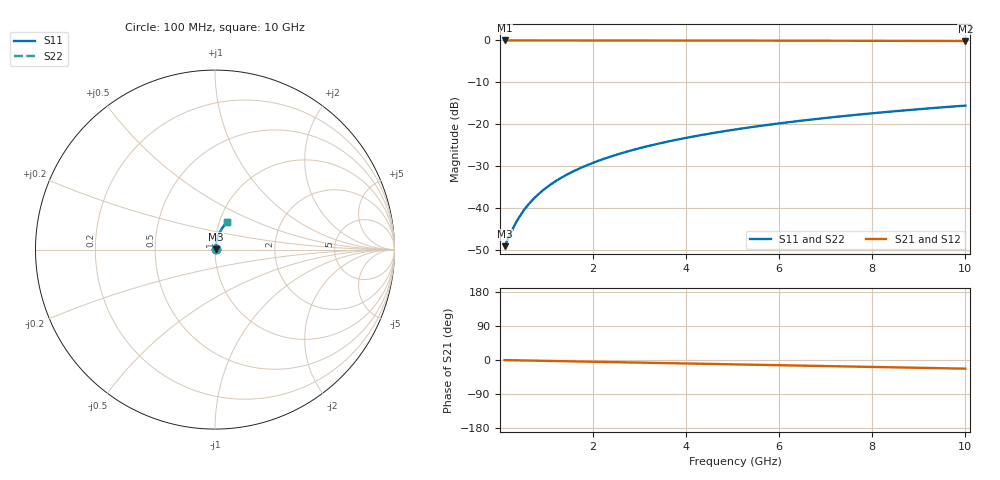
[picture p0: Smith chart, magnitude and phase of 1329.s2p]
# Hz S RI R 50.00
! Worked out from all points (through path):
!   100 points, 100 MHz to 10 GHz, reference 50 ohm
!   highest |S21| = -0.03 dB at 100 MHz (marker M1); lowest = -0.2 dB at 10 GHz (marker M2)
!   group delay of S21, straight-line fit = 6.34 ps
!   lowest |S11| = -49.2 dB at 100 MHz (marker M3), VSWR 1.01, Z = 50.3 + j0.171 ohm
!   |S11| at or under -10 dB: start of sweep to end of sweep
!   |S22| runs from -49.2 to -15.6 dB; largest |S21 - S12| = 0
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1e8  0.00303 0.0017  0.997 -0.00399  0.997 -0.00399  0.00303 0.0017
3e8  0.00311 0.00511  0.9969 -0.012  0.9969 -0.012  0.00311 0.00511
4e8  0.00317 0.00681  0.9968 -0.016  0.9968 -0.016  0.00317 0.00681
5e8  0.00324 0.00852  0.9967 -0.02  0.9967 -0.02  0.00324 0.00852
6e8  0.00333 0.0102  0.9966 -0.024  0.9966 -0.024  0.00333 0.0102
7e8  0.00342 0.0119  0.9964 -0.0279  0.9964 -0.0279  0.00342 0.0119
8e8  0.00353 0.0136  0.9963 -0.0319  0.9963 -0.0319  0.00353 0.0136
9e8  0.00365 0.0153  0.9961 -0.0359  0.9961 -0.0359  0.00365 0.0153
1e9  0.00379 0.017  0.9959 -0.0399  0.9959 -0.0399  0.00379 0.017
1.2e9  0.0041 0.0204  0.9955 -0.0479  0.9955 -0.0479  0.0041 0.0204
1.5e9  0.00467 0.0255  0.9947 -0.0598  0.9947 -0.0598  0.00467 0.0255
1.8e9  0.00535 0.0305  0.9938 -0.0718  0.9938 -0.0718  0.00535 0.0305
2.1e9  0.00616 0.0356  0.9926 -0.0837  0.9926 -0.0837  0.00616 0.0356
2.5e9  0.00742 0.0423  0.9909 -0.0995  0.9909 -0.0995  0.00742 0.0423
2.9e9  0.00889 0.0489  0.9888 -0.1154  0.9888 -0.1154  0.00889 0.0489
3.4e9  0.011 0.0571  0.9859 -0.135  0.9859 -0.135  0.011 0.0571
4.2e9  0.0151 0.0701  0.9801 -0.1664  0.9801 -0.1664  0.0151 0.0701
5.1e9  0.0207 0.0843  0.9723 -0.2012  0.9723 -0.2012  0.0207 0.0843
5.9e9  0.0265 0.0965  0.9642 -0.2318  0.9642 -0.2318  0.0265 0.0965
6.7e9  0.033 0.1084  0.9549 -0.262  0.9549 -0.262  0.033 0.1084
8.4e9  0.0493 0.1319  0.9317 -0.3246  0.9317 -0.3246  0.0493 0.1319
1e10  0.0673 0.1518  0.9057 -0.3813  0.9057 -0.3813  0.0673 0.1518
